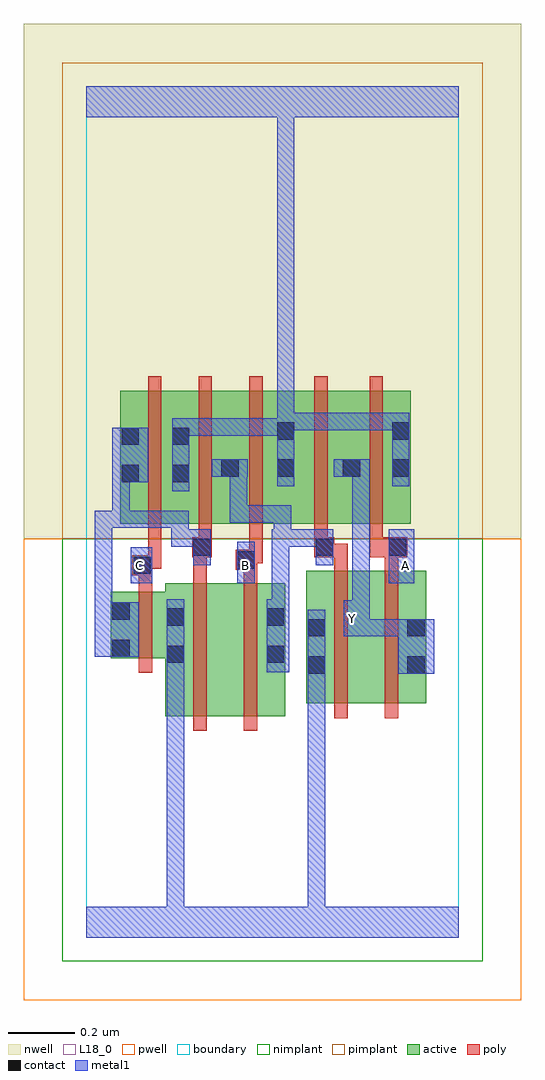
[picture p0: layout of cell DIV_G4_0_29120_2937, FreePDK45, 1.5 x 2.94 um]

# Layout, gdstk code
import gdstk
lib = gdstk.Library(unit=1e-6, precision=1e-09)
def R(c, l, rs):  # rectangles x0, y0, x1, y1
    for r in rs: c.add(gdstk.rectangle(r[:2], r[2:], *l))
def A(c, l, x, y, w, h, nx, ny, dx, dy):  # array of equal rectangles
    R(c, l, [(x+i*dx, y+j*dy, x+i*dx+w, y+j*dy+h) for i in range(nx) for j in range(ny)])
active = (1, 0)
pwell = (2, 0)
nwell = (3, 0)
nimplant = (4, 0)
pimplant = (5, 0)
poly = (9, 0)
contact = (10, 0)
metal1 = (11, 0)
L18_0 = (18, 0)
boundary = (235, 0)

div_g4_0_29120_2937 = lib.new_cell('DIV_G4_0_29120_2937')
R(div_g4_0_29120_2937, active, [(0.238,0.666,0.418,1.066), (0.418,0.666,0.598,1.066), (0.662,0.704,0.722,1.104), (0.662,0.704,0.842,1.104), (0.842,0.704,1.022,1.104), (0.962,0.704,1.022,1.104), (0.538,0.756,0.598,1.066), (0.238,0.822,0.298,1.028), (0.074,0.84,0.298,1.04), (0.074,0.84,0.134,1.04), (0.102,1.244,0.162,1.644), (0.102,1.244,0.314,1.644), (0.254,1.244,0.314,1.644), (0.254,1.244,0.462,1.644), (0.402,1.244,0.462,1.644), (0.402,1.244,0.63,1.644), (0.57,1.244,0.63,1.644), (0.57,1.244,0.828,1.644), (0.768,1.244,0.828,1.644), (0.768,1.244,0.976,1.644), (0.916,1.244,0.976,1.644)])
R(div_g4_0_29120_2937, pwell, [(-0.188,-0.188,1.308,1.2)])
R(div_g4_0_29120_2937, nwell, [(-0.188,1.2,1.308,2.748)])
R(div_g4_0_29120_2937, nimplant, [(-0.072,-0.072,1.192,1.2)])
R(div_g4_0_29120_2937, pimplant, [(-0.072,1.2,1.192,2.632)])
A(div_g4_0_29120_2937, poly, 0.186, 1.2, 0.04, 0.488, 3, 1, 0.152, 0)
R(div_g4_0_29120_2937, poly, [(0.322,0.622,0.362,1.11), (0.474,0.622,0.514,1.11), (0.746,0.66,0.786,1.148), (0.898,0.66,0.938,1.148), (0.158,0.796,0.198,1.084), (0.158,1.044,0.198,1.13), (0.322,1.07,0.362,1.184), (0.474,1.07,0.514,1.146), (0.138,1.09,0.198,1.15), (0.45,1.106,0.514,1.166), (0.746,1.108,0.786,1.184), (0.898,1.108,0.938,1.184), (0.158,1.11,0.198,1.15), (0.158,1.11,0.226,1.15), (0.186,1.11,0.226,1.24), (0.474,1.126,0.514,1.166), (0.474,1.126,0.53,1.166), (0.49,1.126,0.53,1.24), (0.318,1.144,0.378,1.204), (0.322,1.144,0.362,1.184), (0.322,1.144,0.362,1.184), (0.686,1.144,0.746,1.204), (0.706,1.144,0.746,1.184), (0.706,1.144,0.786,1.184), (0.852,1.144,0.966,1.204), (0.898,1.144,0.938,1.184), (0.898,1.144,0.938,1.184), (0.338,1.164,0.378,1.24), (0.686,1.164,0.726,1.24), (0.852,1.164,0.892,1.24), (0.686,1.2,0.726,1.688), (0.852,1.2,0.892,1.688)])
R(div_g4_0_29120_2937, contact, [(0.666,0.794,0.718,0.846), (0.966,0.794,1.018,0.846), (0.242,0.826,0.294,0.878), (0.542,0.826,0.594,0.878), (0.078,0.844,0.13,0.896), (0.666,0.906,0.718,0.958), (0.966,0.906,1.018,0.958), (0.242,0.938,0.294,0.99), (0.542,0.938,0.594,0.99), (0.078,0.956,0.13,1.008), (0.142,1.094,0.194,1.146), (0.454,1.11,0.506,1.162), (0.322,1.148,0.374,1.2), (0.69,1.148,0.742,1.2), (0.91,1.148,0.962,1.2), (0.106,1.37,0.158,1.422), (0.258,1.37,0.31,1.422), (0.406,1.386,0.458,1.438), (0.574,1.386,0.626,1.438), (0.772,1.386,0.824,1.438), (0.92,1.386,0.972,1.438), (0.106,1.482,0.158,1.534), (0.258,1.482,0.31,1.534), (0.574,1.498,0.626,1.55), (0.92,1.498,0.972,1.55)])
R(div_g4_0_29120_2937, metal1, [(0,0,1.12,0.092), (0.242,0.04,0.294,0.092), (0.242,0.04,0.294,0.092), (0.242,0.04,0.294,0.092), (0.242,0.04,0.294,0.092), (0.242,0.04,0.294,0.092), (0.242,0.04,0.294,0.092), (0.242,0.04,0.294,0.092), (0.242,0.04,0.294,0.092), (0.242,0.04,0.294,0.092), (0.242,0.04,0.294,0.092), (0.242,0.04,0.294,0.092), (0.242,0.04,0.294,0.092), (0.242,0.04,0.294,0.85), (0.666,0.04,0.718,0.092), (0.666,0.04,0.718,0.092), (0.666,0.04,0.718,0.092), (0.666,0.04,0.718,0.092), (0.666,0.04,0.718,0.092), (0.666,0.04,0.718,0.092), (0.666,0.04,0.718,0.092), (0.666,0.04,0.718,0.092), (0.666,0.04,0.718,0.092), (0.666,0.04,0.718,0.092), (0.666,0.04,0.718,0.092), (0.666,0.04,0.718,0.092), (0.666,0.04,0.718,0.818), (0.666,0.766,0.718,0.986), (0.938,0.794,1.046,0.958), (0.242,0.798,0.294,1.018), (0.542,0.798,0.61,1.018), (0.026,0.844,0.158,1.008), (0.774,0.906,0.852,1.014), (0.8,0.906,0.99,0.958), (0.938,0.906,0.99,0.958), (0.938,0.906,0.99,0.958), (0.938,0.906,0.99,0.958), (0.938,0.906,0.99,0.958), (0.026,0.956,0.078,1.008), (0.026,0.956,0.078,1.008), (0.026,0.956,0.078,1.284), (0.8,0.962,0.852,1.438), (0.558,0.966,0.61,1.228), (0.134,1.066,0.198,1.174), (0.454,1.066,0.506,1.19), (0.91,1.066,0.986,1.228), (0.322,1.12,0.374,1.228), (0.69,1.12,0.742,1.228), (0.256,1.176,0.308,1.284), (0.256,1.176,0.374,1.228), (0.558,1.176,0.616,1.228), (0.564,1.176,0.616,1.228), (0.564,1.176,0.616,1.228), (0.564,1.176,0.616,1.228), (0.564,1.176,0.742,1.228), (0.564,1.176,0.616,1.3), (0.026,1.232,0.13,1.284), (0.078,1.232,0.13,1.284), (0.078,1.232,0.13,1.284), (0.078,1.232,0.13,1.422), (0.078,1.232,0.308,1.284), (0.432,1.248,0.484,1.3), (0.432,1.248,0.484,1.3), (0.432,1.248,0.484,1.3), (0.432,1.248,0.616,1.3), (0.432,1.248,0.484,1.438), (0.258,1.342,0.31,1.562), (0.574,1.358,0.626,1.578), (0.92,1.358,0.972,1.578), (0.078,1.37,0.186,1.534), (0.378,1.386,0.486,1.438), (0.744,1.386,0.852,1.438), (0.8,1.386,0.852,1.438), (0.8,1.386,0.852,1.438), (0.258,1.51,0.31,1.562), (0.258,1.51,0.31,1.562), (0.258,1.51,0.484,1.562), (0.432,1.51,0.484,1.562), (0.432,1.51,0.484,1.562), (0.432,1.51,0.484,1.562), (0.432,1.51,0.626,1.562), (0.574,1.526,0.626,1.578), (0.574,1.526,0.626,1.578), (0.574,1.526,0.626,1.578), (0.574,1.526,0.626,1.578), (0.574,1.526,0.852,1.578), (0.574,1.526,0.626,2.52), (0.8,1.526,0.852,1.578), (0.8,1.526,0.852,1.578), (0.8,1.526,0.852,1.578), (0.8,1.526,0.972,1.578), (0.92,1.526,0.972,1.578), (0.92,1.526,0.972,1.578), (0,2.468,1.12,2.56), (0.574,2.468,0.626,2.52), (0.574,2.468,0.626,2.52), (0.574,2.468,0.626,2.52), (0.574,2.468,0.626,2.52), (0.574,2.468,0.626,2.52), (0.574,2.468,0.626,2.52), (0.574,2.468,0.626,2.52), (0.574,2.468,0.626,2.52), (0.574,2.468,0.626,2.52), (0.574,2.468,0.626,2.52), (0.574,2.468,0.626,2.52), (0.574,2.468,0.626,2.52), (0.574,2.468,0.626,2.52), (0.574,2.468,0.626,2.52)])
R(div_g4_0_29120_2937, L18_0, [(0,0,1.12,0.092), (0.242,0.04,0.294,0.092), (0.242,0.04,0.294,0.092), (0.242,0.04,0.294,0.092), (0.242,0.04,0.294,0.092), (0.242,0.04,0.294,0.092), (0.242,0.04,0.294,0.092), (0.242,0.04,0.294,0.092), (0.242,0.04,0.294,0.092), (0.242,0.04,0.294,0.092), (0.242,0.04,0.294,0.092), (0.242,0.04,0.294,0.092), (0.242,0.04,0.294,0.092), (0.242,0.04,0.294,0.85), (0.666,0.04,0.718,0.092), (0.666,0.04,0.718,0.092), (0.666,0.04,0.718,0.092), (0.666,0.04,0.718,0.092), (0.666,0.04,0.718,0.092), (0.666,0.04,0.718,0.092), (0.666,0.04,0.718,0.092), (0.666,0.04,0.718,0.092), (0.666,0.04,0.718,0.092), (0.666,0.04,0.718,0.092), (0.666,0.04,0.718,0.092), (0.666,0.04,0.718,0.092), (0.666,0.04,0.718,0.818), (0.666,0.766,0.718,0.986), (0.938,0.794,1.046,0.958), (0.242,0.798,0.294,1.018), (0.774,0.906,0.852,1.014), (0.8,0.906,0.99,0.958), (0.938,0.906,0.99,0.958), (0.938,0.906,0.99,0.958), (0.938,0.906,0.99,0.958), (0.938,0.906,0.99,0.958), (0.774,0.934,0.826,0.986), (0.8,0.962,0.852,1.438), (0.134,1.066,0.198,1.174), (0.454,1.066,0.506,1.19), (0.91,1.066,0.986,1.228), (0.134,1.094,0.186,1.146), (0.454,1.094,0.506,1.146), (0.934,1.094,0.986,1.146), (0.258,1.342,0.31,1.562), (0.574,1.358,0.626,1.578), (0.92,1.358,0.972,1.578), (0.744,1.386,0.852,1.438), (0.8,1.386,0.852,1.438), (0.8,1.386,0.852,1.438), (0.258,1.51,0.31,1.562), (0.258,1.51,0.31,1.562), (0.258,1.51,0.484,1.562), (0.432,1.51,0.484,1.562), (0.432,1.51,0.484,1.562), (0.432,1.51,0.484,1.562), (0.432,1.51,0.626,1.562), (0.574,1.526,0.626,1.578), (0.574,1.526,0.626,1.578), (0.574,1.526,0.626,1.578), (0.574,1.526,0.626,1.578), (0.574,1.526,0.626,2.52), (0.574,1.526,0.852,1.578), (0.8,1.526,0.852,1.578), (0.8,1.526,0.852,1.578), (0.8,1.526,0.852,1.578), (0.8,1.526,0.972,1.578), (0.92,1.526,0.972,1.578), (0.92,1.526,0.972,1.578), (0,2.468,1.12,2.56), (0.574,2.468,0.626,2.52), (0.574,2.468,0.626,2.52), (0.574,2.468,0.626,2.52), (0.574,2.468,0.626,2.52), (0.574,2.468,0.626,2.52), (0.574,2.468,0.626,2.52), (0.574,2.468,0.626,2.52), (0.574,2.468,0.626,2.52), (0.574,2.468,0.626,2.52), (0.574,2.468,0.626,2.52), (0.574,2.468,0.626,2.52), (0.574,2.468,0.626,2.52), (0.574,2.468,0.626,2.52), (0.574,2.468,0.626,2.52)])
R(div_g4_0_29120_2937, boundary, [(0,0,1.12,2.56)])
div_g4_0_29120_2937.add(gdstk.Label('A', (0.96,1.12), layer=11, texttype=0))
div_g4_0_29120_2937.add(gdstk.Label('B', (0.48,1.12), layer=11, texttype=0))
div_g4_0_29120_2937.add(gdstk.Label('C', (0.16,1.12), layer=11, texttype=0))
div_g4_0_29120_2937.add(gdstk.Label('Y', (0.8,0.96), layer=11, texttype=0))

lib.write_gds('DIV_G4_0_29120_2937.gds')
